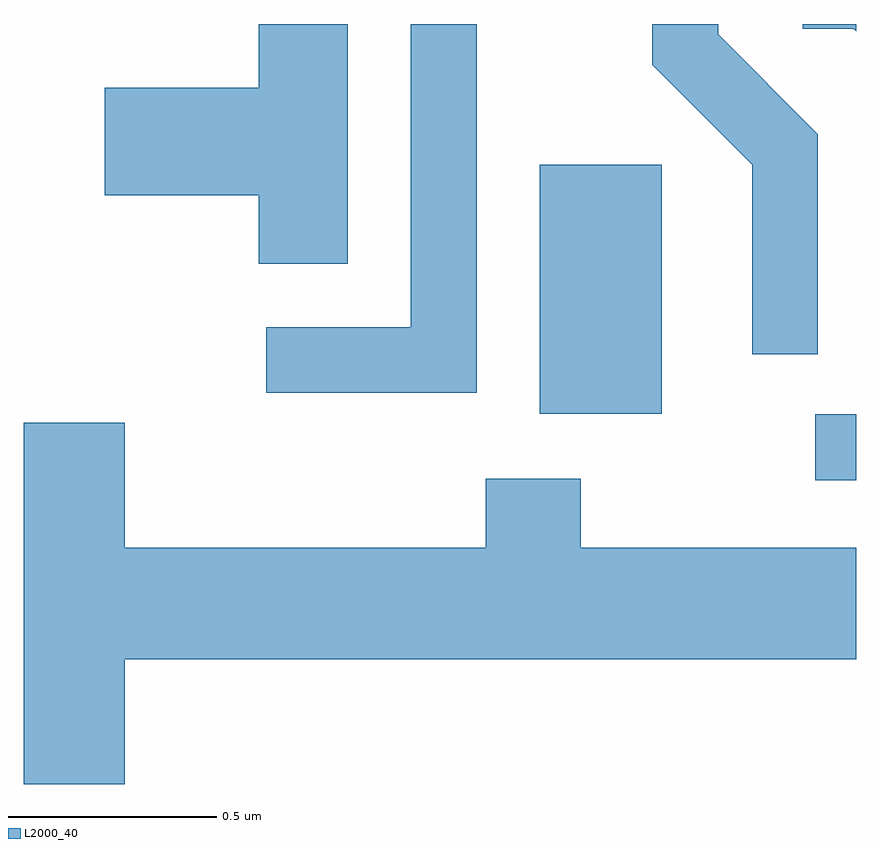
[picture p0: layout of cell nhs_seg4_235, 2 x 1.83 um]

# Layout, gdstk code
import gdstk
lib = gdstk.Library(unit=1e-6, precision=1e-09)
def R(c, l, rs):  # rectangles x0, y0, x1, y1
    for r in rs: c.add(gdstk.rectangle(r[:2], r[2:], *l))
def P(c, l, *ps):  # polygons
    for p in ps: c.add(gdstk.Polygon(p, *l))
L2000_40 = (2000, 40)

nhs_seg4_235 = lib.new_cell('nhs_seg4_235')
R(nhs_seg4_235, L2000_40, [(188.513,1352.886,188.611,1353.044), (187.851,1353.046,188.144,1353.644)])
P(nhs_seg4_235, L2000_40, [(188.611,1353.982),(188.483,1353.982),(188.483,1353.971),(188.604,1353.971),(188.611,1353.964)],
  [(187.389,1353.982),(187.176,1353.982),(187.176,1353.829),(186.806,1353.829),(186.806,1353.571),(187.176,1353.571),(187.176,1353.406),(187.389,1353.406)],
  [(187.699,1353.982),(187.541,1353.982),(187.541,1353.254),(187.193,1353.254),(187.193,1353.096),(187.699,1353.096)],
  [(188.519,1353.717),(188.279,1353.957),(188.279,1353.982),(188.121,1353.982),(188.121,1353.884),(188.361,1353.644),(188.361,1353.188),(188.519,1353.188)],
  [(186.854,1352.456),(188.611,1352.456),(188.611,1352.724),(187.949,1352.724),(187.949,1352.889),(187.721,1352.889),(187.721,1352.724),(186.854,1352.724),(186.854,1353.024),(186.611,1353.024),(186.611,1352.156),(186.854,1352.156)])

lib.write_gds('nhs_seg4_235.gds')
